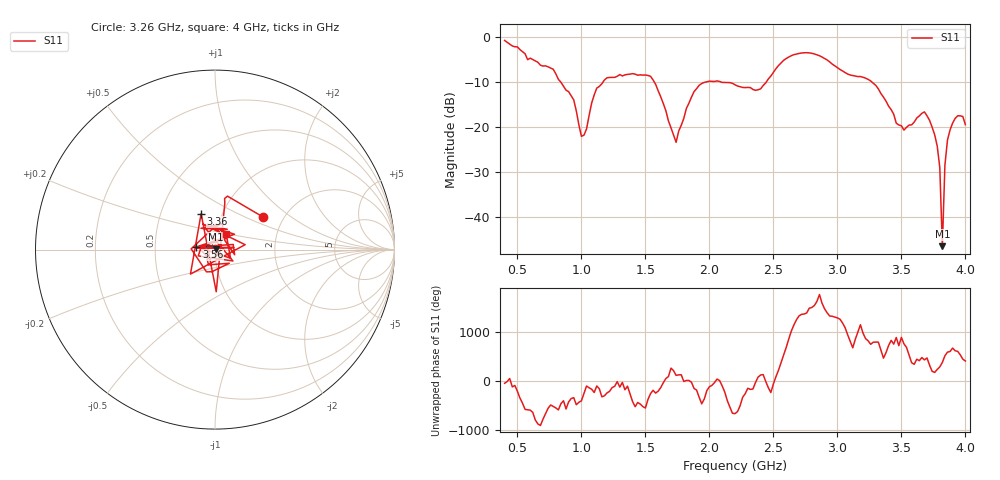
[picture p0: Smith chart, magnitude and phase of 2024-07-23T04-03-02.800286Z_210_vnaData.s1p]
!Created with skrf (http://scikit-rf.org).
# Hz S RI R 50.0
!freq ReS11 ImS11
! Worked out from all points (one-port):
!   181 points, 400 MHz to 4 GHz, reference 50 ohm
!   lowest |S11| = -46.5 dB at 3.82 GHz (marker M1), VSWR 1.01, Z = 50.4 + j0.191 ohm
!   |S11| at or under -10 dB: 1.569 GHz to 1.977 GHz (408.2 MHz wide, 23 % of centre); 2.09 GHz to 2.445 GHz (355.2 MHz wide, 15.7 % of centre); 3.269 GHz to end of sweep (the widest 3 of 4)
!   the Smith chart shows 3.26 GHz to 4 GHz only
!   S11 on the Smith chart (normalised r, x): 3.26 GHz: 1.58, +0.64; 3.36 GHz: 0.79, +0.33; 3.56 GHz: 0.81, +0.03; 4 GHz: 1.12, +0.19
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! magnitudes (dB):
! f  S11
! 400 MHz  -0.8
! 780 MHz  -7.2
! 860 MHz  -11.0
! 940 MHz  -14.0
! 1 GHz  -22.1
! 1.04 GHz  -20.5
! 1.12 GHz  -11.4
! 1.3 GHz  -8.4
! 1.54 GHz  -8.8
! 1.74 GHz  -23.4
! 1.76 GHz  -20.9
! 1.92 GHz  -10.8
! 2.2 GHz  -10.6
! 2.4 GHz  -11.5
! 2.66 GHz  -3.9
! 3.1 GHz  -8.5
! 3.26 GHz  -9.8
! 3.36 GHz  -13.4
! 3.46 GHz  -19.2
! 3.56 GHz  -19.6
! 3.68 GHz  -16.7
! 3.76 GHz  -21.7
! 3.8 GHz  -29.0
! 3.82 GHz  -46.5
! 3.84 GHz  -28.5
! 3.86 GHz  -22.9
! 3.94 GHz  -17.5
! 4 GHz  -19.5
